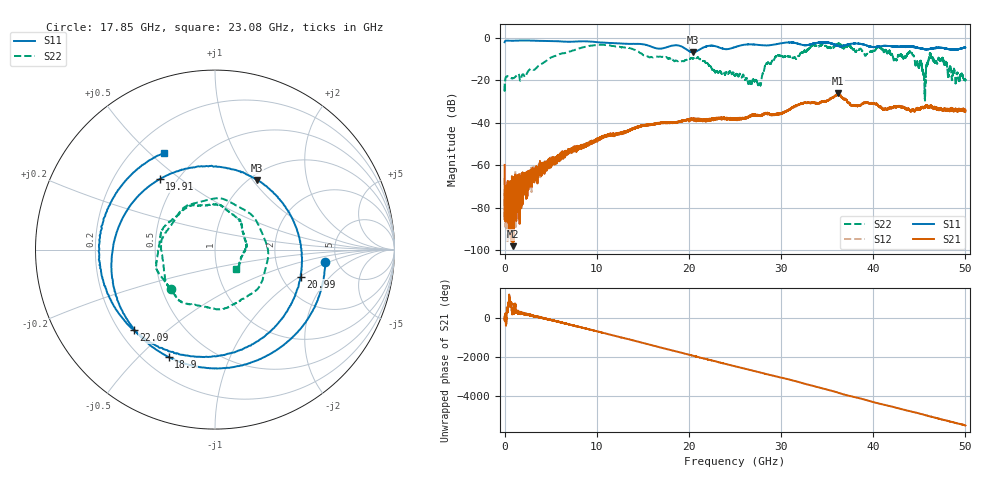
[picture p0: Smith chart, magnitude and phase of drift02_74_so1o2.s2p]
!Created with skrf (http://scikit-rf.org).
# Hz S RI R 50.0
!freq ReS11 ImS11 ReS21 ImS21 ReS12 ImS12 ReS22 ImS22
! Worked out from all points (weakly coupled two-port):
!   10001 points, 300 kHz to 50 GHz, reference 50 ohm
!   highest |S21| = -26.23 dB at 36.13 GHz (marker M1); lowest = -98.0 dB at 925.3 MHz (marker M2)
!   lowest |S11| = -6.9 dB at 20.41 GHz (marker M3), VSWR 2.65, Z = 54.4 + j52.6 ohm
!   |S11| at or under -10 dB: nowhere
!   |S22| runs from -29.6 to -2.6 dB; largest |S21 - S12| = 0.0052
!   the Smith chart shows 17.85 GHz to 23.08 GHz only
!   S11 on the Smith chart (normalised r, x): 17.85 GHz: 4.03, -0.87; 18.9 GHz: 0.30, -0.62; 19.91 GHz: 0.40, +0.42; 20.99 GHz: 2.53, -1.02; 22.09 GHz: 0.26, -0.39; 23.08 GHz: 0.32, +0.56
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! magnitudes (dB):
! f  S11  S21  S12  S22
! 300 kHz  -2.2  -59.8  -66.1  -21.6
! 255.3 MHz  -1.4  -73.9  -76.2  -18.2
! 925.3 MHz  -1.5  -98.0  -71.5  -19.1
! 8.335 GHz  -1.7  -50.6  -51.1  -4.7
! 16.67 GHz  -5.2  -40.2  -40.3  -9.0
! 17.85 GHz  -4.2  -40.0  -39.9  -9.6
! 18.9 GHz  -3.7  -39.6  -39.6  -10.9
! 19.91 GHz  -6.0  -38.5  -38.7  -9.9
! 20.41 GHz  -6.9  -38.7  -38.4  -9.7
! 20.99 GHz  -6.0  -38.7  -38.3  -9.4
! 22.09 GHz  -3.9  -38.2  -38.5  -12.6
! 23.08 GHz  -4.3  -38.1  -37.9  -15.8
! 25 GHz  -4.5  -38.0  -38.3  -17.8
! 27.63 GHz  -3.5  -36.6  -36.7  -21.5
! 29.54 GHz  -3.0  -36.0  -35.9  -8.8
! 33.34 GHz  -3.0  -30.7  -30.6  -3.8
! 36.13 GHz  -3.9  -26.2  -26.9  -3.2
! 41.67 GHz  -3.9  -33.3  -33.4  -6.2
! 44.13 GHz  -4.2  -34.3  -34.5  -7.0
! 45.51 GHz  -5.3  -33.1  -32.8  -18.1
! 46.29 GHz  -5.3  -32.7  -32.6  -9.7
! 50 GHz  -4.7  -34.1  -34.1  -20.2
